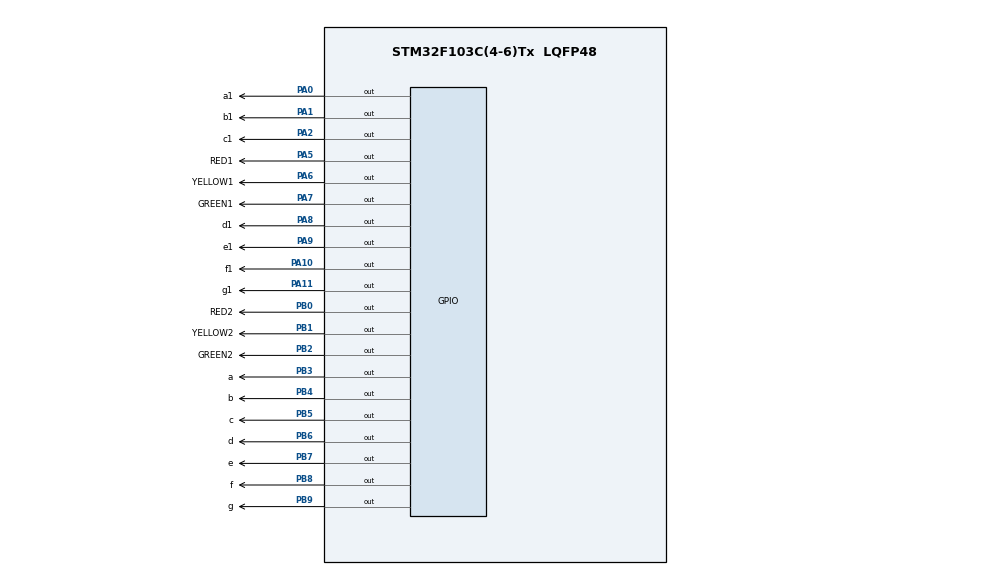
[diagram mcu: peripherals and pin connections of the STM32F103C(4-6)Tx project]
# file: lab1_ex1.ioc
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Mcu.Family=STM32F1
Mcu.Name=STM32F103C(4-6)Tx
Mcu.Package=LQFP48
NVIC.PriorityGroup=NVIC_PRIORITYGROUP_4
PA0-WKUP.GPIO_Label=a1
PA0-WKUP.Signal=GPIO_Output
PA1.GPIO_Label=b1
PA1.Signal=GPIO_Output
PA10.GPIO_Label=f1
PA10.Signal=GPIO_Output
PA11.GPIO_Label=g1
PA11.Signal=GPIO_Output
PA2.GPIO_Label=c1
PA2.Signal=GPIO_Output
PA5.GPIO_Label=RED1
PA5.Signal=GPIO_Output
PA6.GPIO_Label=YELLOW1
PA6.Signal=GPIO_Output
PA7.GPIO_Label=GREEN1
PA7.Signal=GPIO_Output
PA8.GPIO_Label=d1
PA8.Signal=GPIO_Output
PA9.GPIO_Label=e1
PA9.Signal=GPIO_Output
PB0.GPIO_Label=RED2
PB0.Signal=GPIO_Output
PB1.GPIO_Label=YELLOW2
PB1.Signal=GPIO_Output
PB2.GPIO_Label=GREEN2
PB2.Signal=GPIO_Output
PB3.GPIO_Label=a
PB3.Signal=GPIO_Output
PB4.GPIO_Label=b
PB4.Signal=GPIO_Output
PB5.GPIO_Label=c
PB5.Signal=GPIO_Output
PB6.GPIO_Label=d
PB6.Signal=GPIO_Output
PB7.GPIO_Label=e
PB7.Signal=GPIO_Output
PB8.GPIO_Label=f
PB8.Signal=GPIO_Output
PB9.GPIO_Label=g
PB9.Signal=GPIO_Output
ProjectManager.HeapSize=0x200
ProjectManager.StackSize=0x400
ProjectManager.TargetToolchain=STM32CubeIDE
RCC.APB1Freq_Value=8000000
RCC.APB2Freq_Value=8000000
board=custom

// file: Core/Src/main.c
/* USER CODE BEGIN Header */
/**
  ******************************************************************************
  * @file           : main.c
  * @brief          : Main program body
  ******************************************************************************
  * @attention
  *
  * Copyright (c) 2022 STMicroelectronics.
  * All rights reserved.
  *
  * This software is licensed under terms that can be found in the LICENSE file
  * in the root directory of this software component.
  * If no LICENSE file comes with this software, it is provided AS-IS.
  *
  ******************************************************************************
  */
/* USER CODE END Header */
#include "main.h"

void SystemClock_Config(void);
static void MX_GPIO_Init(void);

/* USER CODE BEGIN 0 */
void display7seg(int count){
	if(count==0){
		HAL_GPIO_WritePin(a_GPIO_Port, a_Pin, GPIO_PIN_RESET);
		HAL_GPIO_WritePin(b_GPIO_Port, b_Pin, GPIO_PIN_RESET);
		HAL_GPIO_WritePin(c_GPIO_Port, c_Pin, GPIO_PIN_RESET);
		HAL_GPIO_WritePin(d_GPIO_Port, d_Pin, GPIO_PIN_RESET);
		HAL_GPIO_WritePin(e_GPIO_Port, e_Pin, GPIO_PIN_RESET);
		HAL_GPIO_WritePin(f_GPIO_Port, f_Pin, GPIO_PIN_RESET);
		HAL_GPIO_WritePin(g_GPIO_Port, g_Pin, GPIO_PIN_SET);
	}
	if(count==1){
		HAL_GPIO_WritePin(a_GPIO_Port, a_Pin, GPIO_PIN_SET);
		HAL_GPIO_WritePin(b_GPIO_Port, b_Pin, GPIO_PIN_RESET);
		HAL_GPIO_WritePin(c_GPIO_Port, c_Pin, GPIO_PIN_RESET);
		HAL_GPIO_WritePin(d_GPIO_Port, d_Pin, GPIO_PIN_SET);
		HAL_GPIO_WritePin(e_GPIO_Port, e_Pin, GPIO_PIN_SET);
		HAL_GPIO_WritePin(f_GPIO_Port, f_Pin, GPIO_PIN_SET);
		HAL_GPIO_WritePin(g_GPIO_Port, g_Pin, GPIO_PIN_SET);
		}
	if(count==2){
		HAL_GPIO_WritePin(a_GPIO_Port, a_Pin, GPIO_PIN_RESET);
		HAL_GPIO_WritePin(b_GPIO_Port, b_Pin, GPIO_PIN_RESET);
		HAL_GPIO_WritePin(c_GPIO_Port, c_Pin, GPIO_PIN_SET);
		HAL_GPIO_WritePin(d_GPIO_Port, d_Pin, GPIO_PIN_RESET);
		HAL_GPIO_WritePin(e_GPIO_Port, e_Pin, GPIO_PIN_RESET);
		HAL_GPIO_WritePin(f_GPIO_Port, f_Pin, GPIO_PIN_SET);
		HAL_GPIO_WritePin(g_GPIO_Port, g_Pin, GPIO_PIN_RESET);
		}
	if(count==3){
		HAL_GPIO_WritePin(a_GPIO_Port, a_Pin, GPIO_PIN_RESET);
		HAL_GPIO_WritePin(b_GPIO_Port, b_Pin, GPIO_PIN_RESET);
		HAL_GPIO_WritePin(c_GPIO_Port, c_Pin, GPIO_PIN_RESET);
		HAL_GPIO_WritePin(d_GPIO_Port, d_Pin, GPIO_PIN_RESET);
		HAL_GPIO_WritePin(e_GPIO_Port, e_Pin, GPIO_PIN_SET);
		HAL_GPIO_WritePin(f_GPIO_Port, f_Pin, GPIO_PIN_SET);
		HAL_GPIO_WritePin(g_GPIO_Port, g_Pin, GPIO_PIN_RESET);
		}
	if(count==4){
		HAL_GPIO_WritePin(a_GPIO_Port, a_Pin, GPIO_PIN_SET);
		HAL_GPIO_WritePin(b_GPIO_Port, b_Pin, GPIO_PIN_RESET);
		HAL_GPIO_WritePin(c_GPIO_Port, c_Pin, GPIO_PIN_RESET);
		HAL_GPIO_WritePin(d_GPIO_Port, d_Pin, GPIO_PIN_SET);
		HAL_GPIO_WritePin(e_GPIO_Port, e_Pin, GPIO_PIN_SET);
		HAL_GPIO_WritePin(f_GPIO_Port, f_Pin, GPIO_PIN_RESET);
		HAL_GPIO_WritePin(g_GPIO_Port, g_Pin, GPIO_PIN_RESET);
				}
	if(count==5){
		HAL_GPIO_WritePin(a_GPIO_Port, a_Pin, GPIO_PIN_RESET);
		HAL_GPIO_WritePin(b_GPIO_Port, b_Pin, GPIO_PIN_SET);
		HAL_GPIO_WritePin(c_GPIO_Port, c_Pin, GPIO_PIN_RESET);
		HAL_GPIO_WritePin(d_GPIO_Port, d_Pin, GPIO_PIN_RESET);
		HAL_GPIO_WritePin(e_GPIO_Port, e_Pin, GPIO_PIN_SET);
		HAL_GPIO_WritePin(f_GPIO_Port, f_Pin, GPIO_PIN_RESET);
		HAL_GPIO_WritePin(g_GPIO_Port, g_Pin, GPIO_PIN_RESET);
		}
	if(count==6){
		HAL_GPIO_WritePin(a_GPIO_Port, a_Pin, GPIO_PIN_RESET);
		HAL_GPIO_WritePin(b_GPIO_Port, b_Pin, GPIO_PIN_SET);
		HAL_GPIO_WritePin(c_GPIO_Port, c_Pin, GPIO_PIN_RESET);
		HAL_GPIO_WritePin(d_GPIO_Port, d_Pin, GPIO_PIN_RESET);
		HAL_GPIO_WritePin(e_GPIO_Port, e_Pin, GPIO_PIN_RESET);
		HAL_GPIO_WritePin(f_GPIO_Port, f_Pin, GPIO_PIN_RESET);
		HAL_GPIO_WritePin(g_GPIO_Port, g_Pin, GPIO_PIN_RESET);
		}
	if(count==7){
		HAL_GPIO_WritePin(a_GPIO_Port, a_Pin, GPIO_PIN_RESET);
		HAL_GPIO_WritePin(b_GPIO_Port, b_Pin, GPIO_PIN_RESET);
		HAL_GPIO_WritePin(c_GPIO_Port, c_Pin, GPIO_PIN_RESET);
		HAL_GPIO_WritePin(d_GPIO_Port, d_Pin, GPIO_PIN_SET);
		HAL_GPIO_WritePin(e_GPIO_Port, e_Pin, GPIO_PIN_SET);
		HAL_GPIO_WritePin(f_GPIO_Port, f_Pin, GPIO_PIN_SET);
		HAL_GPIO_WritePin(g_GPIO_Port, g_Pin, GPIO_PIN_SET);
		}
	if(count==8){
		HAL_GPIO_WritePin(a_GPIO_Port, a_Pin, GPIO_PIN_RESET);
		HAL_GPIO_WritePin(b_GPIO_Port, b_Pin, GPIO_PIN_RESET);
		HAL_GPIO_WritePin(c_GPIO_Port, c_Pin, GPIO_PIN_RESET);
		HAL_GPIO_WritePin(d_GPIO_Port, d_Pin, GPIO_PIN_RESET);
		HAL_GPIO_WritePin(e_GPIO_Port, e_Pin, GPIO_PIN_RESET);
		HAL_GPIO_WritePin(f_GPIO_Port, f_Pin, GPIO_PIN_RESET);
		HAL_GPIO_WritePin(g_GPIO_Port, g_Pin, GPIO_PIN_RESET);
		}
	if(count==9){
		HAL_GPIO_WritePin(a_GPIO_Port, a_Pin, GPIO_PIN_RESET);
		HAL_GPIO_WritePin(b_GPIO_Port, b_Pin, GPIO_PIN_RESET);
		HAL_GPIO_WritePin(c_GPIO_Port, c_Pin, GPIO_PIN_RESET);
		HAL_GPIO_WritePin(d_GPIO_Port, d_Pin, GPIO_PIN_SET);
		HAL_GPIO_WritePin(e_GPIO_Port, e_Pin, GPIO_PIN_SET);
		HAL_GPIO_WritePin(f_GPIO_Port, f_Pin, GPIO_PIN_RESET);
		HAL_GPIO_WritePin(g_GPIO_Port, g_Pin, GPIO_PIN_RESET);
		}
}
void display7seg2(int count){
	if(count==0){
		HAL_GPIO_WritePin(a1_GPIO_Port, a1_Pin, GPIO_PIN_RESET);
		HAL_GPIO_WritePin(b1_GPIO_Port, b1_Pin, GPIO_PIN_RESET);
		HAL_GPIO_WritePin(c1_GPIO_Port, c1_Pin, GPIO_PIN_RESET);
		HAL_GPIO_WritePin(d1_GPIO_Port, d1_Pin, GPIO_PIN_RESET);
		HAL_GPIO_WritePin(e1_GPIO_Port, e1_Pin, GPIO_PIN_RESET);
		HAL_GPIO_WritePin(f1_GPIO_Port, f1_Pin, GPIO_PIN_RESET);
		HAL_GPIO_WritePin(g1_GPIO_Port, g1_Pin, GPIO_PIN_SET);
	}
	if(count==1){
			HAL_GPIO_WritePin(a1_GPIO_Port, a1_Pin, GPIO_PIN_SET);
			HAL_GPIO_WritePin(b1_GPIO_Port, b1_Pin, GPIO_PIN_RESET);
			HAL_GPIO_WritePin(c1_GPIO_Port, c1_Pin, GPIO_PIN_RESET);
			HAL_GPIO_WritePin(d1_GPIO_Port, d1_Pin, GPIO_PIN_SET);
			HAL_GPIO_WritePin(e1_GPIO_Port, e1_Pin, GPIO_PIN_SET);
			HAL_GPIO_WritePin(f1_GPIO_Port, f1_Pin, GPIO_PIN_SET);
			HAL_GPIO_WritePin(g1_GPIO_Port, g1_Pin, GPIO_PIN_SET);
		}
	if(count==2){
				HAL_GPIO_WritePin(a1_GPIO_Port, a1_Pin, GPIO_PIN_RESET);
				HAL_GPIO_WritePin(b1_GPIO_Port, b1_Pin, GPIO_PIN_RESET);
				HAL_GPIO_WritePin(c1_GPIO_Port, c1_Pin, GPIO_PIN_SET);
				HAL_GPIO_WritePin(d1_GPIO_Port, d1_Pin, GPIO_PIN_RESET);
				HAL_GPIO_WritePin(e1_GPIO_Port, e1_Pin, GPIO_PIN_RESET);
				HAL_GPIO_WritePin(f1_GPIO_Port, f1_Pin, GPIO_PIN_SET);
				HAL_GPIO_WritePin(g1_GPIO_Port, g1_Pin, GPIO_PIN_RESET);
			}
	if(count==3){
					HAL_GPIO_WritePin(a1_GPIO_Port, a1_Pin, GPIO_PIN_RESET);
					HAL_GPIO_WritePin(b1_GPIO_Port, b1_Pin, GPIO_PIN_RESET);
					HAL_GPIO_WritePin(c1_GPIO_Port, c1_Pin, GPIO_PIN_RESET);
					HAL_GPIO_WritePin(d1_GPIO_Port, d1_Pin, GPIO_PIN_RESET);
					HAL_GPIO_WritePin(e1_GPIO_Port, e1_Pin, GPIO_PIN_SET);
					HAL_GPIO_WritePin(f1_GPIO_Port, f1_Pin, GPIO_PIN_SET);
					HAL_GPIO_WritePin(g1_GPIO_Port, g1_Pin, GPIO_PIN_RESET);
				}
	if(count==4){
					HAL_GPIO_WritePin(a1_GPIO_Port, a1_Pin, GPIO_PIN_SET);
					HAL_GPIO_WritePin(b1_GPIO_Port, b1_Pin, GPIO_PIN_RESET);
					HAL_GPIO_WritePin(c1_GPIO_Port, c1_Pin, GPIO_PIN_RESET);
					HAL_GPIO_WritePin(d1_GPIO_Port, d1_Pin, GPIO_PIN_SET);
					HAL_GPIO_WritePin(e1_GPIO_Port, e1_Pin, GPIO_PIN_SET);
					HAL_GPIO_WritePin(f1_GPIO_Port, f1_Pin, GPIO_PIN_RESET);
					HAL_GPIO_WritePin(g1_GPIO_Port, g1_Pin, GPIO_PIN_RESET);
				}
	if(count==5){
					HAL_GPIO_WritePin(a1_GPIO_Port, a1_Pin, GPIO_PIN_RESET);
					HAL_GPIO_WritePin(b1_GPIO_Port, b1_Pin, GPIO_PIN_SET);
					HAL_GPIO_WritePin(c1_GPIO_Port, c1_Pin, GPIO_PIN_RESET);
					HAL_GPIO_WritePin(d1_GPIO_Port, d1_Pin, GPIO_PIN_RESET);
					HAL_GPIO_WritePin(e1_GPIO_Port, e1_Pin, GPIO_PIN_SET);
					HAL_GPIO_WritePin(f1_GPIO_Port, f1_Pin, GPIO_PIN_RESET);
					HAL_GPIO_WritePin(g1_GPIO_Port, g1_Pin, GPIO_PIN_RESET);
				}
	if(count==6){
					HAL_GPIO_WritePin(a1_GPIO_Port, a1_Pin, GPIO_PIN_RESET);
					HAL_GPIO_WritePin(b1_GPIO_Port, b1_Pin, GPIO_PIN_SET);
					HAL_GPIO_WritePin(c1_GPIO_Port, c1_Pin, GPIO_PIN_RESET);
					HAL_GPIO_WritePin(d1_GPIO_Port, d1_Pin, GPIO_PIN_RESET);
					HAL_GPIO_WritePin(e1_GPIO_Port, e1_Pin, GPIO_PIN_RESET);
					HAL_GPIO_WritePin(f1_GPIO_Port, f1_Pin, GPIO_PIN_RESET);
					HAL_GPIO_WritePin(g1_GPIO_Port, g1_Pin, GPIO_PIN_RESET);
				}
	if(count==7){
					HAL_GPIO_WritePin(a1_GPIO_Port, a1_Pin, GPIO_PIN_RESET);
					HAL_GPIO_WritePin(b1_GPIO_Port, b1_Pin, GPIO_PIN_RESET);
					HAL_GPIO_WritePin(c1_GPIO_Port, c1_Pin, GPIO_PIN_RESET);
					HAL_GPIO_WritePin(d1_GPIO_Port, d1_Pin, GPIO_PIN_SET);
					HAL_GPIO_WritePin(e1_GPIO_Port, e1_Pin, GPIO_PIN_SET);
					HAL_GPIO_WritePin(f1_GPIO_Port, f1_Pin, GPIO_PIN_SET);
					HAL_GPIO_WritePin(g1_GPIO_Port, g1_Pin, GPIO_PIN_SET);
				}
	if(count==8){
					HAL_GPIO_WritePin(a1_GPIO_Port, a1_Pin, GPIO_PIN_RESET);
					HAL_GPIO_WritePin(b1_GPIO_Port, b1_Pin, GPIO_PIN_RESET);
					HAL_GPIO_WritePin(c1_GPIO_Port, c1_Pin, GPIO_PIN_RESET);
					HAL_GPIO_WritePin(d1_GPIO_Port, d1_Pin, GPIO_PIN_RESET);
					HAL_GPIO_WritePin(e1_GPIO_Port, e1_Pin, GPIO_PIN_RESET);
					HAL_GPIO_WritePin(f1_GPIO_Port, f1_Pin, GPIO_PIN_RESET);
					HAL_GPIO_WritePin(g1_GPIO_Port, g1_Pin, GPIO_PIN_RESET);
				}
	if(count==9){
					HAL_GPIO_WritePin(a1_GPIO_Port, a1_Pin, GPIO_PIN_RESET);
					HAL_GPIO_WritePin(b1_GPIO_Port, b1_Pin, GPIO_PIN_RESET);
					HAL_GPIO_WritePin(c1_GPIO_Port, c1_Pin, GPIO_PIN_RESET);
					HAL_GPIO_WritePin(d1_GPIO_Port, d1_Pin, GPIO_PIN_SET);
					HAL_GPIO_WritePin(e1_GPIO_Port, e1_Pin, GPIO_PIN_SET);
					HAL_GPIO_WritePin(f1_GPIO_Port, f1_Pin, GPIO_PIN_RESET);
					HAL_GPIO_WritePin(g1_GPIO_Port, g1_Pin, GPIO_PIN_RESET);
				}
}
/* USER CODE END 0 */

int main(void)
{

  /* MCU Configuration--------------------------------------------------------*/

  /* Reset of all peripherals, Initializes the Flash interface and the Systick. */
  HAL_Init();

  /* Configure the system clock */
  SystemClock_Config();

  /* Initialize all configured peripherals */
  MX_GPIO_Init();
  /* USER CODE BEGIN 2 */
  int count =0;
  int num1=0;
  int num2=0;
  /* USER CODE END 2 */

  /* Infinite loop */
  while (1)
  {
	  if (count<2) //den 1 do, den 2 vang
	  	  	  {
	  	  	  	  HAL_GPIO_WritePin(RED1_GPIO_Port, RED1_Pin, GPIO_PIN_SET);
	  	  	  	  HAL_GPIO_WritePin(YELLOW1_GPIO_Port, YELLOW1_Pin, GPIO_PIN_RESET);
	  	  	  	  HAL_GPIO_WritePin(GREEN1_GPIO_Port, GREEN1_Pin ,GPIO_PIN_RESET);
	  	  	  	  num1 = 4 - count;

	  	  	  	  HAL_GPIO_WritePin(RED2_GPIO_Port, RED2_Pin, GPIO_PIN_RESET);
	  	  	  	  HAL_GPIO_WritePin(YELLOW2_GPIO_Port, YELLOW2_Pin, GPIO_PIN_SET);
	  	  	  	  HAL_GPIO_WritePin(GREEN2_GPIO_Port, GREEN2_Pin ,GPIO_PIN_RESET);
	  	  	  	  num2 = 1 - count;
	  	  	  }
	  	  	  if (count>=2&&count<5) //den 1 do, den 2 xanh
	  	  	  {
	  	  		  HAL_GPIO_WritePin(RED1_GPIO_Port, RED1_Pin, GPIO_PIN_SET);
	  	  		  HAL_GPIO_WritePin(YELLOW1_GPIO_Port, YELLOW1_Pin, GPIO_PIN_RESET);
	  	  		  HAL_GPIO_WritePin(GREEN1_GPIO_Port, GREEN1_Pin ,GPIO_PIN_RESET);
	  	  		  num1 = 4 - count;

	  	  		  HAL_GPIO_WritePin(RED2_GPIO_Port, RED2_Pin, GPIO_PIN_RESET);
	  	  		  HAL_GPIO_WritePin(YELLOW2_GPIO_Port, YELLOW2_Pin, GPIO_PIN_RESET);
	  	  		  HAL_GPIO_WritePin(GREEN2_GPIO_Port, GREEN2_Pin ,GPIO_PIN_SET);
	  	  		  num2=4-count;
	  	  	  }
	  	  	  if(count<7&&count>=5) // den 1 vang, den 2 do
	  	  	  {
	  	  		  HAL_GPIO_WritePin(RED1_GPIO_Port, RED1_Pin, GPIO_PIN_RESET);
	  	  		  HAL_GPIO_WritePin(YELLOW1_GPIO_Port, YELLOW1_Pin, GPIO_PIN_SET);
	  	  		  HAL_GPIO_WritePin(GREEN1_GPIO_Port, GREEN1_Pin ,GPIO_PIN_RESET);
	  	  		  num1=7-count;

	  	  		  HAL_GPIO_WritePin(RED2_GPIO_Port, RED2_Pin, GPIO_PIN_SET);
	  	  		  HAL_GPIO_WritePin(YELLOW2_GPIO_Port, YELLOW2_Pin, GPIO_PIN_RESET);
	  	  		  HAL_GPIO_WritePin(GREEN2_GPIO_Port, GREEN2_Pin ,GPIO_PIN_RESET);
	  	  		  num2=9-count;
	  	  	  }
	  	  	  if (count<10&&count>=7)// den 1 xanh, den 2 do
	  	  	  {
	  	  		  HAL_GPIO_WritePin(RED1_GPIO_Port, RED1_Pin, GPIO_PIN_RESET);
	  	  		  HAL_GPIO_WritePin(YELLOW1_GPIO_Port, YELLOW1_Pin, GPIO_PIN_RESET);
	  	  		  HAL_GPIO_WritePin(GREEN1_GPIO_Port, GREEN1_Pin ,GPIO_PIN_SET);
	  	  		  num1=9-count;

	  	  		  HAL_GPIO_WritePin(RED2_GPIO_Port, RED2_Pin, GPIO_PIN_SET);
	  	  		  HAL_GPIO_WritePin(YELLOW2_GPIO_Port, YELLOW2_Pin, GPIO_PIN_RESET);
	  	  		  HAL_GPIO_WritePin(GREEN2_GPIO_Port, GREEN2_Pin ,GPIO_PIN_RESET);
	  	  		  num2=9-count;
	  	  	  }
	  	  	  if(count>=10) {
	  	  		  count=0;//reset
	  	  		  num1=0;
	  	  		  num2=0;
	  	  	  }
	  	  	  count=count+1;
	  	  	  //hien thi so dem tren hai den
	  	  	  display7seg(num1);
	  	  	  display7seg2(num2);
	  	  	  ////
	  	  	  HAL_Delay (1000) ;
  }
}

void SystemClock_Config(void)
{
  RCC_OscInitTypeDef RCC_OscInitStruct = {0};
  RCC_ClkInitTypeDef RCC_ClkInitStruct = {0};

  /** Initializes the RCC Oscillators according to the specified parameters
  * in the RCC_OscInitTypeDef structure.
  */
  RCC_OscInitStruct.OscillatorType = RCC_OSCILLATORTYPE_HSI;
  RCC_OscInitStruct.HSIState = RCC_HSI_ON;
  RCC_OscInitStruct.HSICalibrationValue = RCC_HSICALIBRATION_DEFAULT;
  RCC_OscInitStruct.PLL.PLLState = RCC_PLL_NONE;
  if (HAL_RCC_OscConfig(&RCC_OscInitStruct) != HAL_OK)
  {
    Error_Handler();
  }

  /** Initializes the CPU, AHB and APB buses clocks
  */
  RCC_ClkInitStruct.ClockType = RCC_CLOCKTYPE_HCLK|RCC_CLOCKTYPE_SYSCLK
                              |RCC_CLOCKTYPE_PCLK1|RCC_CLOCKTYPE_PCLK2;
  RCC_ClkInitStruct.SYSCLKSource = RCC_SYSCLKSOURCE_HSI;
  RCC_ClkInitStruct.AHBCLKDivider = RCC_SYSCLK_DIV1;
  RCC_ClkInitStruct.APB1CLKDivider = RCC_HCLK_DIV1;
  RCC_ClkInitStruct.APB2CLKDivider = RCC_HCLK_DIV1;

  if (HAL_RCC_ClockConfig(&RCC_ClkInitStruct, FLASH_LATENCY_0) != HAL_OK)
  {
    Error_Handler();
  }
}

static void MX_GPIO_Init(void)
{
  GPIO_InitTypeDef GPIO_InitStruct = {0};

  /* GPIO Ports Clock Enable */
  __HAL_RCC_GPIOA_CLK_ENABLE();
  __HAL_RCC_GPIOB_CLK_ENABLE();

  /*Configure GPIO pin Output Level */
  HAL_GPIO_WritePin(GPIOA, a1_Pin|b1_Pin|c1_Pin|RED1_Pin
                          |YELLOW1_Pin|GREEN1_Pin|d1_Pin|e1_Pin
                          |f1_Pin|g1_Pin, GPIO_PIN_RESET);

  /*Configure GPIO pin Output Level */
  HAL_GPIO_WritePin(GPIOB, RED2_Pin|YELLOW2_Pin|GREEN2_Pin|a_Pin
                          |b_Pin|c_Pin|d_Pin|e_Pin
                          |f_Pin|g_Pin, GPIO_PIN_RESET);

  /*Configure GPIO pins : a1_Pin b1_Pin c1_Pin RED1_Pin
                           YELLOW1_Pin GREEN1_Pin d1_Pin e1_Pin
                           f1_Pin g1_Pin */
  GPIO_InitStruct.Pin = a1_Pin|b1_Pin|c1_Pin|RED1_Pin
                          |YELLOW1_Pin|GREEN1_Pin|d1_Pin|e1_Pin
                          |f1_Pin|g1_Pin;
  GPIO_InitStruct.Mode = GPIO_MODE_OUTPUT_PP;
  GPIO_InitStruct.Pull = GPIO_NOPULL;
  GPIO_InitStruct.Speed = GPIO_SPEED_FREQ_LOW;
  HAL_GPIO_Init(GPIOA, &GPIO_InitStruct);

  /*Configure GPIO pins : RED2_Pin YELLOW2_Pin GREEN2_Pin a_Pin
                           b_Pin c_Pin d_Pin e_Pin
                           f_Pin g_Pin */
  GPIO_InitStruct.Pin = RED2_Pin|YELLOW2_Pin|GREEN2_Pin|a_Pin
                          |b_Pin|c_Pin|d_Pin|e_Pin
                          |f_Pin|g_Pin;
  GPIO_InitStruct.Mode = GPIO_MODE_OUTPUT_PP;
  GPIO_InitStruct.Pull = GPIO_NOPULL;
  GPIO_InitStruct.Speed = GPIO_SPEED_FREQ_LOW;
  HAL_GPIO_Init(GPIOB, &GPIO_InitStruct);

}

void Error_Handler(void)
{
  __disable_irq();
  while (1)
  {
  }
}
